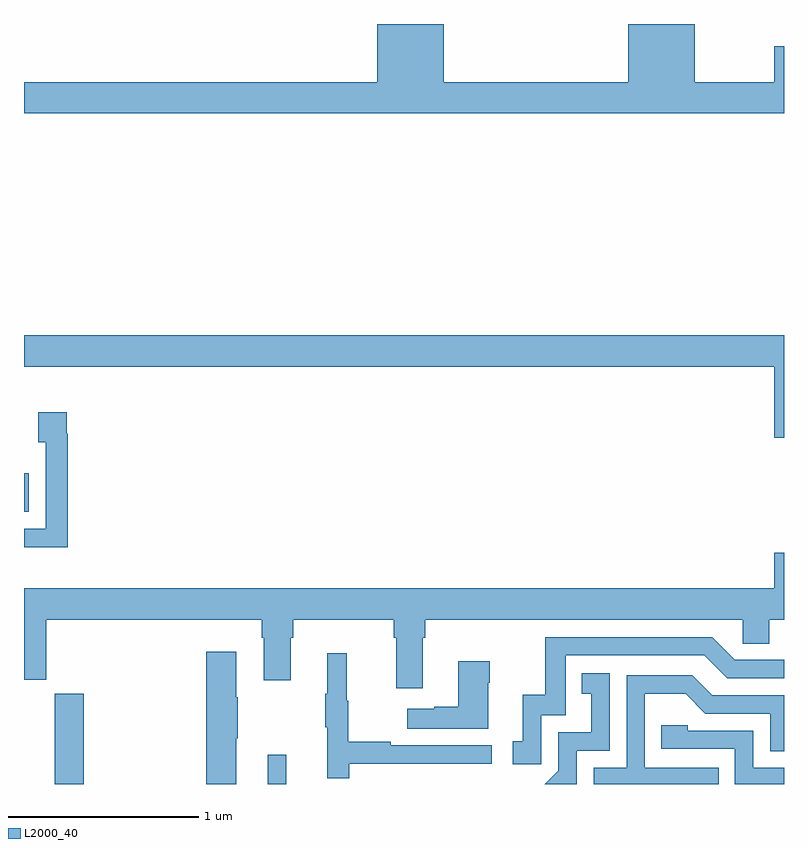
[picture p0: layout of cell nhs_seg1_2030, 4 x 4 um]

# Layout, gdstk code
import gdstk
lib = gdstk.Library(unit=1e-6, precision=1e-09)
def R(c, l, rs):  # rectangles x0, y0, x1, y1
    for r in rs: c.add(gdstk.rectangle(r[:2], r[2:], *l))
def P(c, l, *ps):  # polygons
    for p in ps: c.add(gdstk.Polygon(p, *l))
L2000_40 = (2000, 40)

nhs_seg1_2030 = lib.new_cell('nhs_seg1_2030')
R(nhs_seg1_2030, L2000_40, [(221.162,552.199,221.315,552.675), (222.284,552.199,222.381,552.352), (221,553.631,221.026,553.834)])
P(nhs_seg1_2030, L2000_40, [(225,556.081),(224.948,556.081),(224.948,555.892),(224.53,555.892),(224.53,556.199),(224.18,556.199),(224.18,555.892),(223.21,555.892),(223.21,556.199),(222.86,556.199),(222.86,555.892),(221,555.892),(221,555.728),(225,555.728)],
  [(225,554.56),(221,554.56),(221,554.396),(224.948,554.396),(224.948,554.022),(225,554.022)],
  [(221.231,554.042),(221.224,554.042),(221.224,554.155),(221.075,554.155),(221.075,553.999),(221.115,553.999),(221.115,553.542),(221,553.542),(221,553.445),(221.231,553.445)],
  [(223.099,552.968),(223.112,552.968),(223.112,553.064),(224.784,553.064),(224.784,552.937),(224.923,552.937),(224.923,553.064),(225,553.064),(225,553.417),(224.948,553.417),(224.948,553.228),(221,553.228),(221,552.747),(221.116,552.747),(221.116,553.064),(222.251,553.064),(222.251,552.968),(222.263,552.968),(222.263,552.744),(222.403,552.744),(222.403,552.968),(222.416,552.968),(222.416,553.064),(222.947,553.064),(222.947,552.968),(222.959,552.968),(222.959,552.702),(223.099,552.702)],
  [(223.722,552.561),(223.851,552.561),(223.851,552.876),(224.58,552.876),(224.7,552.756),(225,552.756),(225,552.852),(224.742,552.852),(224.622,552.972),(223.743,552.972),(223.743,552.67),(223.625,552.67),(223.625,552.423),(223.572,552.423),(223.572,552.303),(223.722,552.303)],
  [(222.118,552.439),(222.126,552.439),(222.126,552.656),(222.118,552.656),(222.118,552.895),(221.96,552.895),(221.96,552.199),(222.118,552.199)],
  [(222.713,552.306),(223.462,552.306),(223.462,552.402),(222.929,552.402),(222.929,552.422),(222.706,552.422),(222.706,552.636),(222.698,552.636),(222.698,552.886),(222.596,552.886),(222.596,552.673),(222.585,552.673),(222.585,552.499),(222.596,552.499),(222.596,552.228),(222.713,552.228)],
  [(223.444,552.731),(223.452,552.731),(223.452,552.844),(223.286,552.844),(223.286,552.605),(223.16,552.605),(223.16,552.595),(223.017,552.595),(223.017,552.491),(223.444,552.491)],
  [(223.908,552.375),(224.082,552.375),(224.082,552.781),(223.936,552.781),(223.936,552.675),(223.985,552.675),(223.985,552.471),(223.812,552.471),(223.812,552.27),(223.741,552.199),(223.908,552.199)],
  [(224.657,552.285),(224.268,552.285),(224.268,552.674),(224.482,552.674),(224.586,552.57),(224.928,552.57),(224.928,552.372),(225,552.372),(225,552.666),(224.623,552.666),(224.518,552.771),(224.172,552.771),(224.172,552.285),(223.998,552.285),(223.998,552.199),(224.657,552.199)],
  [(225,552.285),(224.838,552.285),(224.838,552.48),(224.493,552.48),(224.493,552.507),(224.353,552.507),(224.353,552.384),(224.742,552.384),(224.742,552.199),(225,552.199)])

lib.write_gds('nhs_seg1_2030.gds')
